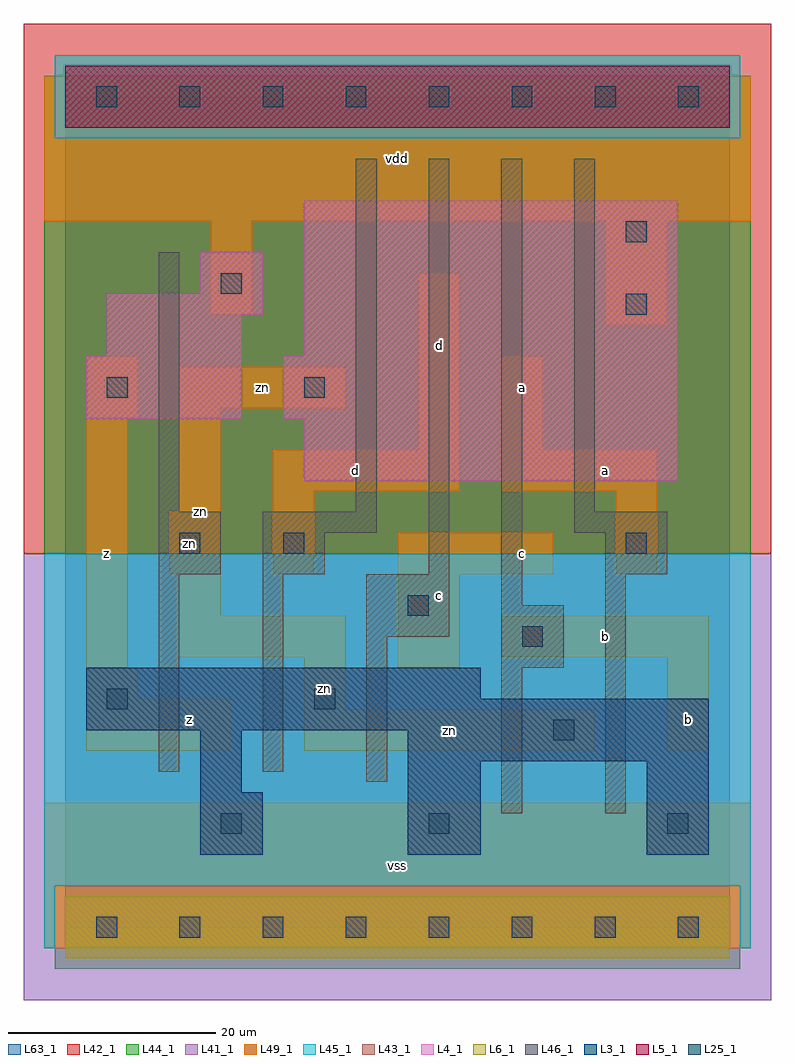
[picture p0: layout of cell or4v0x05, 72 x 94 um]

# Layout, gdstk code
import gdstk
lib = gdstk.Library(unit=1e-6, precision=1e-09)
def R(c, l, rs):  # rectangles x0, y0, x1, y1
    for r in rs: c.add(gdstk.rectangle(r[:2], r[2:], *l))
def A(c, l, x, y, w, h, nx, ny, dx, dy):  # array of equal rectangles
    R(c, l, [(x+i*dx, y+j*dy, x+i*dx+w, y+j*dy+h) for i in range(nx) for j in range(ny)])
L3_1 = (3, 1)
L4_1 = (4, 1)
L5_1 = (5, 1)
L6_1 = (6, 1)
L25_1 = (25, 1)
L41_1 = (41, 1)
L42_1 = (42, 1)
L43_1 = (43, 1)
L44_1 = (44, 1)
L45_1 = (45, 1)
L46_1 = (46, 1)
L49_1 = (49, 1)
L63_1 = (63, 1)

or4v0x05 = lib.new_cell('or4v0x05')
R(or4v0x05, L3_1, [(13,7,19,13), (33,7,40,16), (56,7,62,16), (13,13,17,19), (33,16,62,19), (2,19,62,22), (2,22,40,25)])
R(or4v0x05, L4_1, [(23,43,59,49), (2,49,17,55), (21,49,59,55), (4,55,17,59), (23,55,59,70), (4,59,19,61), (13,61,19,65)])
R(or4v0x05, L5_1, [(0,77,64,83)])
R(or4v0x05, L6_1, [(0,-3,64,3), (0,-3,64,3)])
A(or4v0x05, L25_1, 3, -1, 2, 2, 8, 2, 8, 80)
R(or4v0x05, L25_1, [(15,9,17,11), (35,9,37,11), (58,9,60,11), (47,18,49,20), (4,21,6,23), (24,21,26,23), (44,27,46,29), (33,30,35,32), (11,36,13,38), (21,36,23,38), (54,36,56,38), (4,51,6,53), (23,51,25,53), (54,59,56,61), (15,61,17,63), (54,66,56,68)])
R(or4v0x05, L41_1, [(-4,-7,68,36)])
R(or4v0x05, L42_1, [(-4,36,68,87)])
R(or4v0x05, L43_1, [(0,-3,64,3), (13,7,19,13), (33,7,40,16), (56,7,62,16), (13,13,17,19), (33,16,62,19), (2,19,62,22), (2,22,40,25), (23,43,59,49), (2,49,17,55), (21,49,59,55), (4,55,17,59), (23,55,59,70), (4,59,19,61), (13,61,19,65), (0,77,64,83)])
R(or4v0x05, L44_1, [(-1,-4,65,4), (-2,36,66,76), (-2,76,-1,82), (65,76,66,82)])
R(or4v0x05, L45_1, [(-2,-2,-1,4), (65,-2,66,4), (-2,4,66,36), (-1,76,65,84)])
R(or4v0x05, L46_1, [(42,11,44,25), (52,11,54,34), (29,14,31,28), (9,15,11,34), (19,15,21,34), (42,25,48,31), (29,28,37,34), (42,31,44,74), (9,34,15,40), (19,34,25,38), (35,34,37,74), (52,34,58,38), (19,38,30,40), (49,38,58,40), (9,40,11,65), (28,40,30,74), (49,40,51,74)])
R(or4v0x05, L49_1, [(-2,-2,66,12), (2,17,16,22), (23,17,51,21), (58,17,62,26), (23,21,27,26), (2,22,7,25), (2,25,6,49), (32,25,38,34), (11,26,27,30), (42,26,62,30), (11,30,15,34), (10,34,15,40), (20,34,24,42), (32,34,47,38), (53,34,57,42), (11,40,15,50), (20,42,38,46), (42,42,57,46), (34,46,38,63), (42,46,46,55), (2,49,7,55), (11,50,27,54), (52,58,58,68), (14,59,18,68), (-2,68,66,82)])
R(or4v0x05, L63_1, [(0,0,64,80)])
or4v0x05.add(gdstk.Label('zn', (12,37), layer=49, texttype=1))
or4v0x05.add(gdstk.Label('z', (4,36), layer=49, texttype=1))
or4v0x05.add(gdstk.Label('z', (12,20), layer=49, texttype=1))
or4v0x05.add(gdstk.Label('zn', (13,40), layer=49, texttype=1))
or4v0x05.add(gdstk.Label('vss', (32,6), layer=49, texttype=1))
or4v0x05.add(gdstk.Label('zn', (25,23), layer=49, texttype=1))
or4v0x05.add(gdstk.Label('c', (36,32), layer=49, texttype=1))
or4v0x05.add(gdstk.Label('d', (28,44), layer=49, texttype=1))
or4v0x05.add(gdstk.Label('zn', (19,52), layer=49, texttype=1))
or4v0x05.add(gdstk.Label('d', (36,56), layer=49, texttype=1))
or4v0x05.add(gdstk.Label('vdd', (32,74), layer=49, texttype=1))
or4v0x05.add(gdstk.Label('zn', (37,19), layer=49, texttype=1))
or4v0x05.add(gdstk.Label('c', (44,36), layer=49, texttype=1))
or4v0x05.add(gdstk.Label('a', (44,52), layer=49, texttype=1))
or4v0x05.add(gdstk.Label('b', (52,28), layer=49, texttype=1))
or4v0x05.add(gdstk.Label('b', (60,20), layer=49, texttype=1))
or4v0x05.add(gdstk.Label('a', (52,44), layer=49, texttype=1))

lib.write_gds('or4v0x05.gds')
